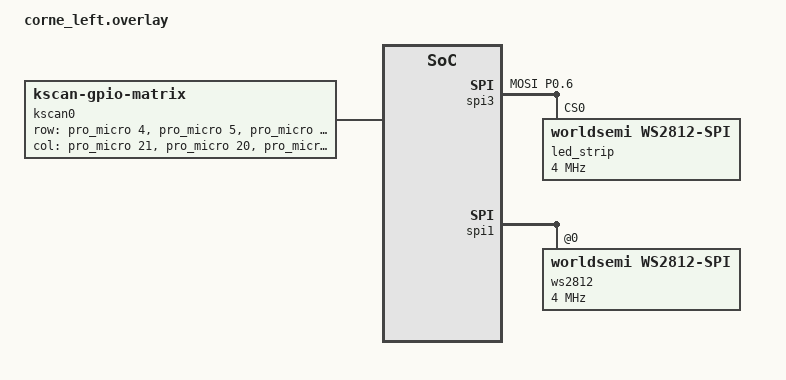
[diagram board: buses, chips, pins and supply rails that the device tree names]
/*
 * Copyright (c) 2020 Pete Johanson
 *
 * SPDX-License-Identifier: MIT
 */

#include "corne.dtsi"
#include <dt-bindings/led/led.h>

/ {
    chosen {
        zmk,kscan = &kscan0;
        zmk,physical-layout = &foostan_corne_6col_layout;
    };

    kscan0: kscan {
        diode-direction = "col2row";
        compatible = "zmk,kscan-gpio-matrix";
        wakeup-source;
    };
};

&kscan0 {
    row-gpios
        = <&pro_micro 4 (GPIO_ACTIVE_HIGH | GPIO_PULL_DOWN)>
        , <&pro_micro 5 (GPIO_ACTIVE_HIGH | GPIO_PULL_DOWN)>
        , <&pro_micro 6 (GPIO_ACTIVE_HIGH | GPIO_PULL_DOWN)>
        , <&pro_micro 7 (GPIO_ACTIVE_HIGH | GPIO_PULL_DOWN)>
        ;
    col-gpios
        = <&pro_micro 21 GPIO_ACTIVE_HIGH>
        , <&pro_micro 20 GPIO_ACTIVE_HIGH>
        , <&pro_micro 19 GPIO_ACTIVE_HIGH>
        , <&pro_micro 18 GPIO_ACTIVE_HIGH>
        , <&pro_micro 15 GPIO_ACTIVE_HIGH>
        , <&pro_micro 14 GPIO_ACTIVE_HIGH>
        ;
};

&pinctrl {
    spi3_default: spi3_default {
        group1 {
            psels = <NRF_PSEL(SPIM_MOSI, 0, 6)>;
        };
    };

    spi3_sleep: spi3_sleep {
        group1 {
            psels = <NRF_PSEL(SPIM_MOSI, 0, 6)>;
            low-power-enable;
        };
    };
};

&spi3 {
    compatible = "nordic,nrf-spim";
    status = "okay";

    pinctrl-0 = <&spi3_default>;
    pinctrl-1 = <&spi3_sleep>;
    pinctrl-names = "default", "sleep";

    led_strip: ws2812@0 {
        compatible = "worldsemi,ws2812-spi";

        /* SPI */
        reg = <0>; /* ignored, but necessary for SPI bindings */
        spi-max-frequency = <4000000>;

        /* WS2812 */
        chain-length = <27>; /* arbitrary; change at will */
        spi-one-frame = <0x70>;
        spi-zero-frame = <0x40>;

        color-mapping = <LED_COLOR_ID_GREEN LED_COLOR_ID_RED LED_COLOR_ID_BLUE>;
    };
};

&spi1 {
    status = "okay";

    ws2812: ws2812@0 {
        compatible = "worldsemi,ws2812-spi";
        spi-max-frequency = <4000000>;

        chain-length = <27>; /* Nombre de LEDs */
        spi-one-frame = <0x70>;
        spi-zero-frame = <0x40>;

        color-mapping = <LED_COLOR_ID_GREEN LED_COLOR_ID_RED LED_COLOR_ID_BLUE>;
    };
};

/ {
    chosen {
        zmk,underglow = &ws2812;
    };
};

